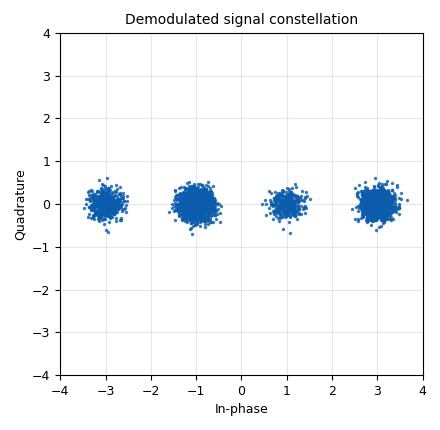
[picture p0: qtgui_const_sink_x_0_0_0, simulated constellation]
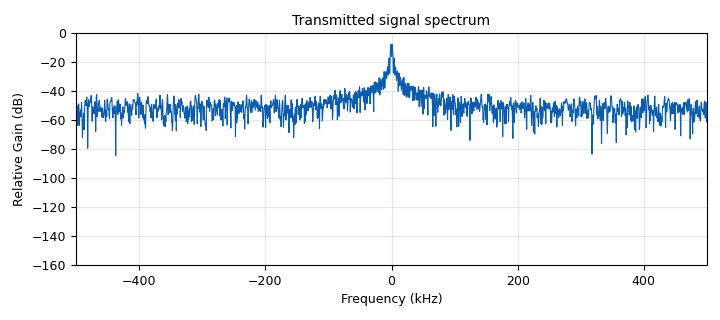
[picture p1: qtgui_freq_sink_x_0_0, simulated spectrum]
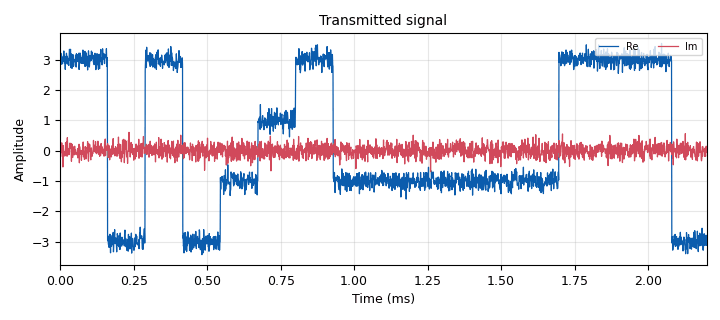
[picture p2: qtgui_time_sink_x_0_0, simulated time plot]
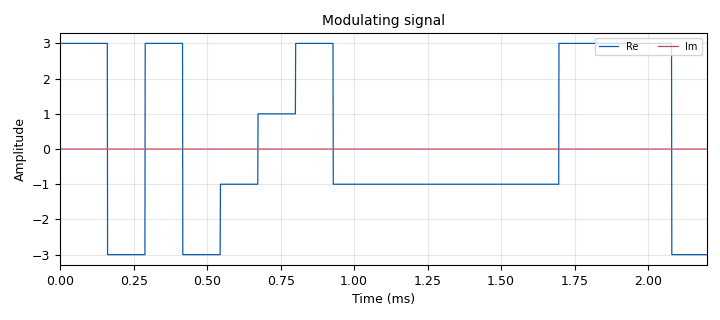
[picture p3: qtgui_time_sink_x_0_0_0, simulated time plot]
options:
  parameters:
    generate_options: qt_gui
    id: ASK_Rx_simulator
    output_language: python
    title: Simulate ASK reception
  states: {}

blocks:
- name: freq
  id: variable_qtgui_range
  parameters:
    gui_hint: 0,0,1,2
    start: 1e3
    step: 1e3
    stop: 500e3
    value: 223e3
  states: {}
- name: samp_rate
  id: variable
  parameters:
    value: 1e6
  states: {}
- name: samps_per_sym
  id: variable
  parameters:
    value: '128'
  states: {}
- name: analog_noise_source_x_0
  id: analog_noise_source_x
  parameters:
    amp: '0.25'
    noise_type: analog.GR_GAUSSIAN
    seed: '0'
    type: complex
  states: {}
- name: analog_sig_source_x_0
  id: analog_sig_source_x
  parameters:
    amp: '1'
    freq: freq
    offset: '0'
    phase: '0'
    samp_rate: samp_rate
    type: complex
    waveform: analog.GR_COS_WAVE
  states: {}
- name: analog_sig_source_x_0_0
  id: analog_sig_source_x
  parameters:
    amp: '1'
    freq: '-freq'
    offset: '0'
    phase: '0'
    samp_rate: samp_rate
    type: complex
    waveform: analog.GR_COS_WAVE
  states: {}
- name: blocks_add_xx_0
  id: blocks_add_xx
  parameters:
    type: complex
  states: {}
- name: blocks_multiply_xx_0
  id: blocks_multiply_xx
  parameters:
    type: complex
  states: {}
- name: blocks_multiply_xx_0_0
  id: blocks_multiply_xx
  parameters:
    type: complex
  states: {}
- name: blocks_repeat_0
  id: blocks_repeat
  parameters:
    interp: samps_per_sym
    type: complex
  states: {}
- name: blocks_throttle_0
  id: blocks_throttle
  parameters:
    samples_per_second: samp_rate
    type: complex
  states: {}
- name: blocks_vector_source_x_0
  id: blocks_vector_source_x
  parameters:
    repeat: 'True'
    type: complex
    vector: (-3, -1, 1, 3, -1, -1,-1, -1, -1,  -1, 3, 3, 3, -3, 3)
  states: {}
- name: qtgui_const_sink_x_0_0_0
  id: qtgui_const_sink_x
  parameters:
    gui_hint: 4,0,1,2
    name: '"Demodulated signal constellation"'
    size: '4096'
    type: complex
    xmax: '4.0'
    xmin: '-4.0'
    ymax: '4'
    ymin: '-4'
  states: {}
- name: qtgui_freq_sink_x_0_0
  id: qtgui_freq_sink_x
  parameters:
    bw: samp_rate
    fc: '0'
    fftsize: '2048'
    gui_hint: 3,0,1,2
    name: '"Transmitted signal spectrum"'
    type: complex
    ymax: '0'
    ymin: '-160'
  states: {}
- name: qtgui_time_sink_x_0_0
  id: qtgui_time_sink_x
  parameters:
    autoscale: 'True'
    gui_hint: 2,0,1,2
    label1: Re
    label2: Im
    name: '"Transmitted signal"'
    size: '2200'
    srate: samp_rate
    tr_delay: '800e-6'
    tr_level: '2.0'
    tr_mode: qtgui.TRIG_MODE_NORM
    type: complex
  states: {}
- name: qtgui_time_sink_x_0_0_0
  id: qtgui_time_sink_x
  parameters:
    autoscale: 'True'
    gui_hint: 1,0,1,2
    label1: Re
    label2: Im
    name: '"Modulating signal"'
    size: '2200'
    srate: samp_rate
    tr_delay: '800e-6'
    tr_level: '2.0'
    tr_mode: qtgui.TRIG_MODE_AUTO
    type: complex
  states: {}

connections:
- [analog_noise_source_x_0, '0', blocks_add_xx_0, '0']
- [analog_sig_source_x_0, '0', blocks_multiply_xx_0, '1']
- [analog_sig_source_x_0, '0', blocks_throttle_0, '0']
- [analog_sig_source_x_0_0, '0', blocks_multiply_xx_0_0, '1']
- [blocks_add_xx_0, '0', blocks_multiply_xx_0_0, '0']
- [blocks_multiply_xx_0, '0', blocks_add_xx_0, '1']
- [blocks_multiply_xx_0_0, '0', qtgui_const_sink_x_0_0_0, '0']
- [blocks_multiply_xx_0_0, '0', qtgui_freq_sink_x_0_0, '0']
- [blocks_multiply_xx_0_0, '0', qtgui_time_sink_x_0_0, '0']
- [blocks_repeat_0, '0', blocks_multiply_xx_0, '0']
- [blocks_repeat_0, '0', qtgui_time_sink_x_0_0_0, '0']
- [blocks_vector_source_x_0, '0', blocks_repeat_0, '0']

metadata:
  file_format: 1
